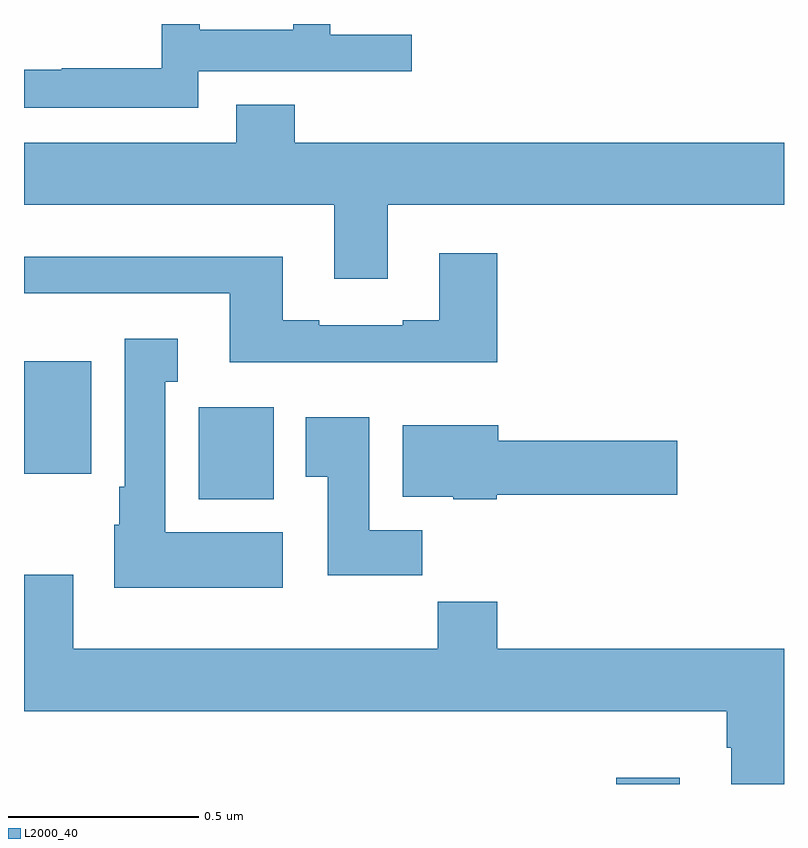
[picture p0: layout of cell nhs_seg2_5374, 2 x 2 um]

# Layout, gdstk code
import gdstk
lib = gdstk.Library(unit=1e-6, precision=1e-09)
def R(c, l, rs):  # rectangles x0, y0, x1, y1
    for r in rs: c.add(gdstk.rectangle(r[:2], r[2:], *l))
def P(c, l, *ps):  # polygons
    for p in ps: c.add(gdstk.Polygon(p, *l))
L2000_40 = (2000, 40)

nhs_seg2_5374 = lib.new_cell('nhs_seg2_5374')
R(nhs_seg2_5374, L2000_40, [(179.558,624.8,179.725,624.817), (178.46,625.55,178.657,625.792), (178,625.616,178.177,625.912)])
P(nhs_seg2_5374, L2000_40, [(178.458,626.676),(179.02,626.676),(179.02,626.772),(178.806,626.772),(178.806,626.8),(178.708,626.8),(178.708,626.785),(178.463,626.785),(178.463,626.8),(178.362,626.8),(178.362,626.683),(178.099,626.683),(178.099,626.679),(178,626.679),(178,626.579),(178.458,626.579)],
  [(178.957,626.324),(180,626.324),(180,626.488),(178.712,626.488),(178.712,626.587),(178.559,626.587),(178.559,626.488),(178,626.488),(178,626.324),(178.817,626.324),(178.817,626.13),(178.957,626.13)],
  [(179.246,626.197),(179.093,626.197),(179.093,626.02),(178.997,626.02),(178.997,626.007),(178.777,626.007),(178.777,626.02),(178.681,626.02),(178.681,626.188),(178,626.188),(178,626.091),(178.541,626.091),(178.541,625.91),(179.246,625.91)],
  [(178.681,625.462),(178.372,625.462),(178.372,625.859),(178.405,625.859),(178.405,625.972),(178.265,625.972),(178.265,625.582),(178.25,625.582),(178.25,625.482),(178.238,625.482),(178.238,625.316),(178.681,625.316)],
  [(179.048,625.468),(178.909,625.468),(178.909,625.765),(178.742,625.765),(178.742,625.609),(178.799,625.609),(178.799,625.35),(179.048,625.35)],
  [(179.244,625.561),(179.719,625.561),(179.719,625.703),(179.248,625.703),(179.248,625.744),(178.997,625.744),(178.997,625.556),(179.13,625.556),(179.13,625.55),(179.244,625.55)],
  [(180,625.156),(179.246,625.156),(179.246,625.28),(179.089,625.28),(179.089,625.156),(178.129,625.156),(178.129,625.351),(178,625.351),(178,624.992),(179.849,624.992),(179.849,624.896),(179.861,624.896),(179.861,624.8),(180,624.8)])

lib.write_gds('nhs_seg2_5374.gds')
